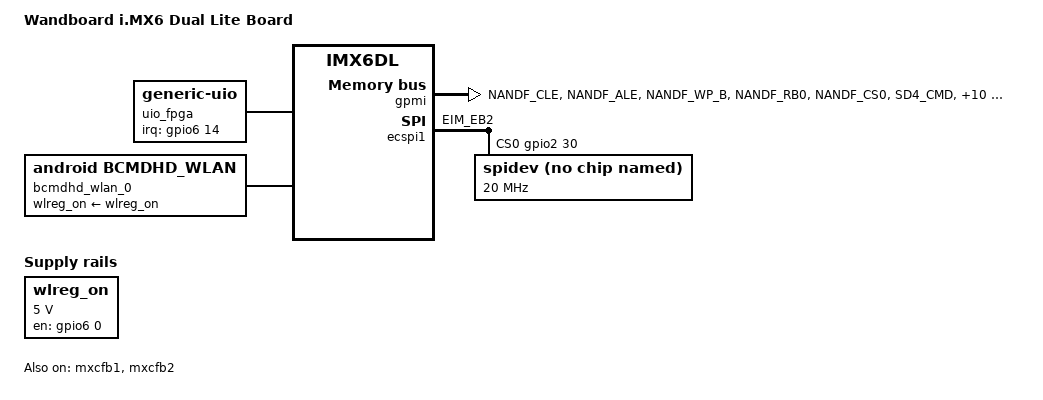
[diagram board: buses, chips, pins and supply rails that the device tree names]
/*
 * Copyright 2013 Freescale Semiconductor, Inc.
 *
 * Author: Fabio Estevam <fabio.estevam@freescale.com>
 * Copyright 2016 Technexion Ltd.
 * Copyright 2014 John Weber
 *
 * The code contained herein is licensed under the GNU General Public
 * License. You may obtain a copy of the GNU General Public License
 * Version 2 or later at the following locations:
 *
 * http://www.opensource.org/licenses/gpl-license.html
 * http://www.gnu.org/copyleft/gpl.html
 */

/dts-v1/;

#include <dt-bindings/interrupt-controller/irq.h>
#include <dt-bindings/input/input.h>
#include "imx6dl.dtsi"
#include "imx6qdl-wandboard.dtsi"

/ {
	model = "Wandboard i.MX6 Dual Lite Board";
	compatible = "wand,imx6dl-wandboard", "fsl,imx6dl";

	uio_fpga {
		compatible = "generic-uio";
		interrupts = < 14 IRQ_TYPE_EDGE_RISING >;
		interrupt-parent = <&gpio6>;
		pinctrl-names = "default";
		pinctrl-0 = <&pinctrl_fpga>;
	};

	bcmdhd_wlan_0: bcmdhd_wlan@0 {
		compatible = "android,bcmdhd_wlan";
		pinctrl-0 = <&pinctrl_wifi_ctrl>;
		wlreg_on-supply = <&wlreg_on>;
	};

	regulators {
		compatible = "simple-bus";
		#address-cells = <1>;
		#size-cells = <0>;

		wlreg_on: fixedregulator@100 {
			compatible = "regulator-fixed";
			regulator-min-microvolt = <5000000>;
			regulator-max-microvolt = <5000000>;
			regulator-name = "wlreg_on";
			gpio = <&gpio6 0 GPIO_ACTIVE_HIGH>;
			enable-active-high;
		};
	};

	gpio-edm {
		compatible = "gpio-edm";

		wl_on {
			label = "wl_on";
			gpios = <&gpio5 31 1>;
			dir   = "out";
		};

		wl_reg {
			label = "wl_reg";
			gpios = <&gpio1 26 1>;
			dir   = "out";
		};

		bluetooth-on {
			label = "bluetooth-on";
			gpios = <&gpio5 21 1>;
			dir   = "out";
		};

		bluetooth-wake {
			label = "bluetooth-wake";
			gpios = <&gpio5 30 1>;
			dir   = "in";
		};

		bluetooth-host-wake {
			label = "bluetooth-host-wake";
			gpios = <&gpio5 20 1>;
			dir   = "in";
		};
	};

};

&ldb {
	lvds-channel@0 {
		crtc = "ipu1-di1";
	};
};

&mxcfb1 {
	status = "okay";
};

&mxcfb2 {
	status = "okay";
};

#if 0
&mxcfb3 {
	status = "okay";
};

&mxcfb4 {
	status = "okay";
};
#endif

&epdc {
	status = "disabled";
};

&gpmi {
        pinctrl-names = "default";
        pinctrl-0 = <&pinctrl_gpmi_nand_2>;
        status = "okay";
};

&ecspi1 {
        fsl,spi-num-chipselects = <1>;
        cs-gpios = <&gpio2 30 0>;
        pinctrl-names = "default";
        pinctrl-0 = <&pinctrl_ecspi1>;
        status = "okay";

        /delete-node/ ads7846@0;

        spidev@0 {
                compatible = "spidev";
                reg = <0>;
                #address-cells = <1>;
                #size-cells = <0>;
                spi-max-frequency = <20000000>;
        };

};

&iomuxc {
	pinctrl-names = "default";

	imx6qdl-wandboard {

                pinctrl_ecspi1: ecspi1grp {
                        fsl,pins = <
                                MX6QDL_PAD_EIM_EB2__GPIO2_IO30 0x80000000
                        >;
                };

		pinctrl_wifi_ctrl: wifi_ctrlgrp {
			fsl,pins = <
				MX6QDL_PAD_CSI0_DAT14__GPIO6_IO00 0x000b0			/* wifi-reset */
				MX6QDL_PAD_CSI0_DAT13__GPIO5_IO31 0x000b0			/* wifi-on */
				MX6QDL_PAD_ENET_RXD1__GPIO1_IO26  0x000b0			/* wifi-reg-on */
				MX6QDL_PAD_ENET_TXD1__GPIO1_IO29  0x80000000		/* wifi-host-wake */

			>;
		};

		pinctrl_bt_ctrl: bt_ctrlgrp {
			fsl,pins = <
				MX6QDL_PAD_CSI0_VSYNC__GPIO5_IO21	0x000b0		/* bluetooth-reg-on */
				MX6QDL_PAD_CSI0_DAT12__GPIO5_IO30	0x80000000	/* bluetooth-wake */
				MX6QDL_PAD_CSI0_DATA_EN__GPIO5_IO20	0x80000000	/* bluetooth-host-wake */
			>;
		};
	};
	gpmni-nand {
                pinctrl_gpmi_nand_2: gpmi-nand-2 {
                        fsl,pins = <
                                MX6QDL_PAD_NANDF_CLE__NAND_CLE     0xb0b1
                                MX6QDL_PAD_NANDF_ALE__NAND_ALE     0xb0b1
                                MX6QDL_PAD_NANDF_WP_B__NAND_WP_B   0xb0b1
                                MX6QDL_PAD_NANDF_RB0__NAND_READY_B 0xb000
                                MX6QDL_PAD_NANDF_CS0__NAND_CE0_B   0xb0b1
                                MX6QDL_PAD_SD4_CMD__NAND_RE_B      0xb0b1
                                MX6QDL_PAD_SD4_CLK__NAND_WE_B      0xb0b1
                                MX6QDL_PAD_NANDF_D0__NAND_DATA00   0xb0b1
                                MX6QDL_PAD_NANDF_D1__NAND_DATA01   0xb0b1
                                MX6QDL_PAD_NANDF_D2__NAND_DATA02   0xb0b1
                                MX6QDL_PAD_NANDF_D3__NAND_DATA03   0xb0b1
                                MX6QDL_PAD_NANDF_D4__NAND_DATA04   0xb0b1
                                MX6QDL_PAD_NANDF_D5__NAND_DATA05   0xb0b1
                                MX6QDL_PAD_NANDF_D6__NAND_DATA06   0xb0b1
                                MX6QDL_PAD_NANDF_D7__NAND_DATA07   0xb0b1
                                MX6QDL_PAD_SD4_DAT0__NAND_DQS      0x00b1
                        >;
                };
        };
	fpga {
                pinctrl_fpga: fpga_int {
                        fsl,pins = <
                                MX6QDL_PAD_NANDF_CS1__GPIO6_IO14   0x1b0b0
                        >;
                };
        };
};
